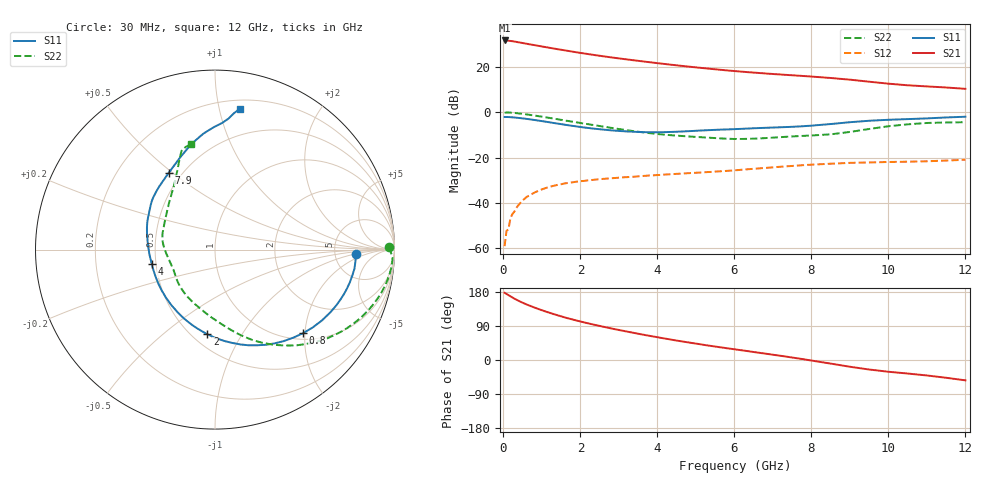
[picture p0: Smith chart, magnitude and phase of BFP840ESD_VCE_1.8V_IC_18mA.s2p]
! Infineon Technologies  Discrete & RF Semiconductors
! BFP840ESD
! VCE =  1.8 V,  IC =  18 mA
! Common Emitter S-Parameters:  May 2012
# GHz  S  MA  R  50
!  f  S11  S21  S12  S22
! GHz  MAG  ANG  MAG  ANG  MAG  ANG  MAG  ANG
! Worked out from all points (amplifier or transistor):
!   93 points, 30 MHz to 12 GHz, reference 50 ohm
!   highest |S21| = 31.7 dB at 30 MHz (marker M1)
!   |S21| within 3 dB of that: start of sweep to 1.115 GHz
!   unconditionally stable (mu >= 1): 5.008 GHz to 8.456 GHz
!   at 1.1 GHz: K = 0.38, MSG = 31.1 dB, |S12| = -33.5 dB
!   at 4.2 GHz: K = 0.93, MSG = 24.4 dB, |S12| = -27.5 dB
!   at 12 GHz: K = 0.74, MSG = 15.7 dB, |S12| = -21.0 dB
!   S11 on the Smith chart (normalised r, x): 30 MHz: 8.30, -0.96; 800 MHz: 1.14, -1.95; 2 GHz: 0.59, -0.72; 4 GHz: 0.47, -0.09; 7.9 GHz: 0.43, +0.49; 12 GHz: 0.27, +1.16
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0.03  0.7875 -1.6  38.63 177.3  0.0011 86.5  0.9708 0.7
0.18  0.7785 -10.7  37.67 168.1  0.0045 83.9  0.9829 -7.7
0.38  0.7516 -22.0  35.34 156.9  0.0087 76.8  0.9474 -16.5
0.6  0.7145 -33.6  32.7 146.6  0.0134 69.7  0.8979 -24.9
0.8  0.6759 -43.6  30.51 138.6  0.0167 65.0  0.8486 -31.8
1.1  0.6185 -57.7  27.48 127.8  0.0212 57.9  0.774 -41.0
1.3  0.581 -66.6  25.67 121.3  0.0237 54.0  0.7256 -46.6
1.6  0.5296 -79.3  23.29 112.2  0.0269 49.6  0.6586 -54.2
2  0.4733 -95.2  20.5 101.6  0.03 44.9  0.5802 -63.3
2.1  0.4608 -99.0  19.9 99.1  0.0305 43.9  0.5621 -65.4
2.5  0.4217 -113.8  17.71 89.9  0.0332 40.0  0.4964 -73.4
2.9  0.3931 -128.5  15.91 81.2  0.0353 37.9  0.4391 -81.3
3.5  0.3677 -149.7  13.7 69.3  0.0384 35.1  0.3718 -94.5
4  0.3616 -167.0  12.18 60.1  0.041 32.9  0.331 -106.9
4.1  0.3622 -170.3  11.9 58.2  0.0414 32.5  0.3252 -109.5
4.9  0.3859 168.4  10.02 44.8  0.0455 29.9  0.2892 -129.3
6.1  0.4275 148.2  8.009 26.9  0.0529 27.1  0.2574 -156.8
7.9  0.4999 121.0  6.24 0.2  0.0688 17.1  0.3045 164.1
8.5  0.5497 110.6  5.723 -9.5  0.073 12.4  0.3255 148.3
9.5  0.6496 95.7  4.736 -25.1  0.0779 4.1  0.4273 122.1
10.5  0.7065 86.8  3.95 -35.7  0.0809 -2.4  0.5414 111.4
12  0.7975 79.9  3.297 -53.7  0.0893 -9.8  0.6035 102.6
